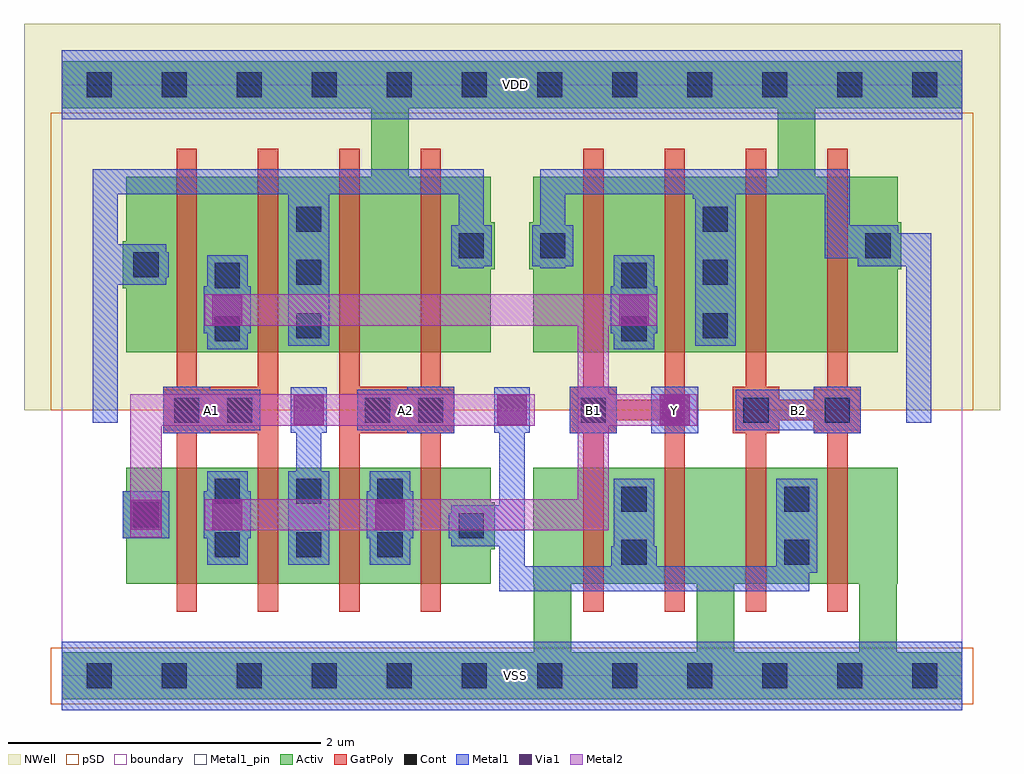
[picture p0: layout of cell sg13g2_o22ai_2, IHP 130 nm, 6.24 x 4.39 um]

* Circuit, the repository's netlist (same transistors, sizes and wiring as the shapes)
.SUBCKT sg13g2_o22ai_2 Y A1 A2 B1 B2 VDD VSS
*.PININFO A1:I A2:I B1:I B2:I Y:O VDD:B VSS:B
MN0 Y A1 net1 VSS sg13_lv_nmos w=1.48u l=130.00n ng=2
MN1 Y A2 net1 VSS sg13_lv_nmos w=1.48u l=130.00n ng=2
MN2 net1 B1 VSS VSS sg13_lv_nmos w=1.48u l=130.00n ng=2
MN3 net1 B2 VSS VSS sg13_lv_nmos w=1.48u l=130.00n ng=2
MP0 Y A1 net2 VDD sg13_lv_pmos w=2.24u l=130.00n ng=2
MP1 net2 A2 VDD VDD sg13_lv_pmos w=2.24u l=130.00n ng=2
MP2 Y B1 net3 VDD sg13_lv_pmos w=2.24u l=130.00n ng=2
MP3 net3 B2 VDD VDD sg13_lv_pmos w=2.24u l=130.00n ng=2
.ENDS

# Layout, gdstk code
import gdstk
lib = gdstk.Library(unit=1e-6, precision=1e-09)
def R(c, l, rs):  # rectangles x0, y0, x1, y1
    for r in rs: c.add(gdstk.rectangle(r[:2], r[2:], *l))
def A(c, l, x, y, w, h, nx, ny, dx, dy):  # array of equal rectangles
    R(c, l, [(x+i*dx, y+j*dy, x+i*dx+w, y+j*dy+h) for i in range(nx) for j in range(ny)])
def P(c, l, *ps):  # polygons
    for p in ps: c.add(gdstk.Polygon(p, *l))
Activ = (1, 0)
GatPoly = (5, 0)
Cont = (6, 0)
Metal1 = (8, 0)
Metal1_pin = (8, 2)
Metal2 = (10, 0)
pSD = (14, 0)
Via1 = (19, 0)
NWell = (31, 0)
boundary = (189, 4)

sg13g2_o22ai_2 = lib.new_cell('sg13g2_o22ai_2')
P(sg13g2_o22ai_2, Activ, [(3.02,0.15),(0,0.15),(0,-0.15),(5.76,-0.15),(5.76,0.15),(3.02,0.15),(3.26,0.15),(3.26,0.59),(4.06,0.59),(4.06,0.15),(4.3,0.15),(4.3,0.59),(5.1,0.59),(5.1,0.15),(5.34,0.15),(5.34,0.59),(5.345,0.59),(5.345,1.33),(3.015,1.33),(3.015,0.59),(3.02,0.59)],
  [(0,3.63),(1.98,3.63),(1.98,3.19),(0.415,3.19),(0.415,2.78),(0.39,2.78),(0.39,2.48),(0.415,2.48),(0.415,2.07),(2.745,2.07),(2.745,2.6),(2.77,2.6),(2.77,2.9),(2.745,2.9),(2.745,3.19),(2.22,3.19),(2.22,3.63),(4.58,3.63),(4.58,3.19),(3.015,3.19),(3.015,2.9),(2.99,2.9),(2.99,2.6),(3.015,2.6),(3.015,2.07),(5.345,2.07),(5.345,2.6),(5.37,2.6),(5.37,2.9),(5.345,2.9),(5.345,3.19),(4.82,3.19),(4.82,3.63),(5.76,3.63),(5.76,3.93),(0,3.93)],
  [(0.39,0.88),(0.415,0.88),(0.415,0.59),(2.745,0.59),(2.745,0.81),(2.77,0.81),(2.77,1.11),(2.745,1.11),(2.745,1.33),(0.415,1.33),(0.415,1.18),(0.39,1.18)])
P(sg13g2_o22ai_2, GatPoly, [(0.65,1.55),(0.735,1.55),(0.735,0.41),(0.865,0.41),(0.865,1.55),(1.255,1.55),(1.255,0.41),(1.385,0.41),(1.385,3.37),(1.255,3.37),(1.255,1.85),(0.865,1.85),(0.865,3.37),(0.735,3.37),(0.735,1.85),(0.65,1.85)],
  [(1.775,0.41),(1.905,0.41),(1.905,1.55),(2.295,1.55),(2.295,0.41),(2.425,0.41),(2.425,1.55),(2.51,1.55),(2.51,1.85),(2.425,1.85),(2.425,3.37),(2.295,3.37),(2.295,1.85),(1.905,1.85),(1.905,3.37),(1.775,3.37)],
  [(3.25,1.55),(3.335,1.55),(3.335,0.41),(3.465,0.41),(3.465,1.55),(3.55,1.55),(3.55,1.635),(3.855,1.635),(3.855,0.41),(3.985,0.41),(3.985,3.37),(3.855,3.37),(3.855,1.765),(3.55,1.765),(3.55,1.85),(3.465,1.85),(3.465,3.37),(3.335,3.37),(3.335,1.85),(3.25,1.85)],
  [(4.29,1.55),(4.375,1.55),(4.375,0.41),(4.505,0.41),(4.505,1.55),(4.59,1.55),(4.59,1.635),(4.81,1.635),(4.81,1.55),(4.895,1.55),(4.895,0.41),(5.025,0.41),(5.025,1.55),(5.11,1.55),(5.11,1.85),(5.025,1.85),(5.025,3.37),(4.895,3.37),(4.895,1.85),(4.81,1.85),(4.81,1.765),(4.59,1.765),(4.59,1.85),(4.505,1.85),(4.505,3.37),(4.375,3.37),(4.375,1.85),(4.29,1.85)])
A(sg13g2_o22ai_2, Cont, 0.16, -0.08, 0.16, 0.16, 12, 2, 0.48, 3.78)
A(sg13g2_o22ai_2, Cont, 0.98, 0.76, 0.16, 0.16, 3, 2, 0.52, 0.34)
A(sg13g2_o22ai_2, Cont, 2.28, 1.62, 0.16, 0.16, 3, 1, 1.04, 0)
A(sg13g2_o22ai_2, Cont, 1.5, 2.16, 0.16, 0.16, 1, 3, 0, 0.34)
A(sg13g2_o22ai_2, Cont, 4.1, 2.16, 0.16, 0.16, 1, 3, 0, 0.34)
R(sg13g2_o22ai_2, Cont, [(3.58,0.71,3.74,0.87), (4.62,0.71,4.78,0.87), (2.54,0.88,2.7,1.04), (0.46,0.95,0.62,1.11), (3.58,1.05,3.74,1.21), (4.62,1.05,4.78,1.21), (0.72,1.62,0.88,1.78), (1.06,1.62,1.22,1.78), (1.94,1.62,2.1,1.78), (4.88,1.62,5.04,1.78), (0.98,2.14,1.14,2.3), (3.58,2.14,3.74,2.3), (0.98,2.48,1.14,2.64), (3.58,2.48,3.74,2.64), (0.46,2.55,0.62,2.71), (2.54,2.67,2.7,2.83), (3.06,2.67,3.22,2.83), (5.14,2.67,5.3,2.83)])
R(sg13g2_o22ai_2, Metal1, [(0,-0.22,5.76,0.22), (0.39,0.88,0.69,1.18), (3.25,1.55,3.55,1.85), (3.77,1.55,4.07,1.85), (0,3.56,5.76,4)])
P(sg13g2_o22ai_2, Metal1, [(0.2,1.62),(0.36,1.62),(0.36,2.5),(0.67,2.5),(0.67,2.55),(0.685,2.55),(0.685,2.71),(0.67,2.71),(0.67,2.76),(0.36,2.76),(0.36,3.08),(1.45,3.08),(1.45,2.11),(1.71,2.11),(1.71,3.08),(2.54,3.08),(2.54,2.88),(2.49,2.88),(2.49,2.62),(2.54,2.62),(2.54,2.605),(2.7,2.605),(2.7,2.62),(2.75,2.62),(2.75,2.88),(2.7,2.88),(2.7,3.24),(0.2,3.24)],
  [(0.65,1.55),(0.95,1.55),(0.95,1.57),(1.27,1.57),(1.27,1.83),(0.95,1.83),(0.95,1.85),(0.65,1.85)],
  [(0.91,0.88),(0.93,0.88),(0.93,0.71),(1.19,0.71),(1.19,0.88),(1.21,0.88),(1.21,1.18),(1.19,1.18),(1.19,1.31),(0.93,1.31),(0.93,1.18),(0.91,1.18)],
  [(0.91,2.19),(0.93,2.19),(0.93,2.09),(1.19,2.09),(1.19,2.19),(1.21,2.19),(1.21,2.49),(1.19,2.49),(1.19,2.69),(0.93,2.69),(0.93,2.49),(0.91,2.49)],
  [(1.45,0.71),(1.71,0.71),(1.71,1.31),(1.66,1.31),(1.66,1.555),(1.695,1.555),(1.695,1.845),(1.465,1.845),(1.465,1.555),(1.5,1.555),(1.5,1.31),(1.45,1.31)],
  [(1.89,1.57),(2.21,1.57),(2.21,1.55),(2.51,1.55),(2.51,1.85),(2.21,1.85),(2.21,1.83),(1.89,1.83)],
  [(1.95,0.88),(1.97,0.88),(1.97,0.71),(2.23,0.71),(2.23,0.88),(2.25,0.88),(2.25,1.18),(2.23,1.18),(2.23,1.31),(1.97,1.31),(1.97,1.18),(1.95,1.18)],
  [(2.475,0.88),(2.49,0.88),(2.49,0.83),(2.8,0.83),(2.8,0.54),(4.78,0.54),(4.78,0.66),(4.83,0.66),(4.83,1.26),(4.57,1.26),(4.57,0.7),(3.805,0.7),(3.805,0.83),(3.79,0.83),(3.79,1.26),(3.53,1.26),(3.53,0.83),(3.515,0.83),(3.515,0.7),(2.96,0.7),(2.96,1.555),(2.995,1.555),(2.995,1.845),(2.765,1.845),(2.765,1.555),(2.8,1.555),(2.8,1.09),(2.49,1.09),(2.49,1.04),(2.475,1.04)],
  [(3.01,2.62),(3.06,2.62),(3.06,2.605),(3.22,2.605),(3.22,2.62),(3.27,2.62),(3.27,2.88),(3.22,2.88),(3.22,3.08),(4.035,3.08),(4.035,3.05),(4.05,3.05),(4.05,2.11),(4.31,2.11),(4.31,3.08),(4.88,3.08),(4.88,2.67),(5.09,2.67),(5.09,2.62),(5.4,2.62),(5.4,1.62),(5.56,1.62),(5.56,2.83),(5.35,2.83),(5.35,2.88),(5.04,2.88),(5.04,3.24),(3.06,3.24),(3.06,2.88),(3.01,2.88)],
  [(3.51,2.19),(3.53,2.19),(3.53,2.09),(3.79,2.09),(3.79,2.19),(3.81,2.19),(3.81,2.49),(3.79,2.49),(3.79,2.69),(3.53,2.69),(3.53,2.49),(3.51,2.49)],
  [(4.31,1.57),(4.81,1.57),(4.81,1.55),(5.11,1.55),(5.11,1.85),(4.81,1.85),(4.81,1.83),(4.31,1.83)])
R(sg13g2_o22ai_2, Metal1_pin, [(0,-0.22,5.76,0.22), (3.25,1.55,3.55,1.85), (3.77,1.55,4.07,1.85), (0.65,1.57,1.27,1.83), (1.89,1.57,2.51,1.83), (4.31,1.57,5.11,1.83), (0,3.56,5.76,4)])
P(sg13g2_o22ai_2, Metal2, [(0.44,0.885),(0.64,0.885),(0.64,1.6),(3.025,1.6),(3.025,1.8),(0.44,1.8)],
  [(0.915,0.93),(3.5,0.93),(3.5,1.6),(4.065,1.6),(4.065,1.8),(3.5,1.8),(3.5,2.24),(3.805,2.24),(3.805,2.44),(0.915,2.44),(0.915,2.24),(3.3,2.24),(3.3,1.13),(0.915,1.13)])
R(sg13g2_o22ai_2, pSD, [(-0.07,-0.18,5.83,0.18), (-0.07,1.7,5.83,3.6)])
R(sg13g2_o22ai_2, Via1, [(0.445,0.935,0.635,1.125), (0.965,0.935,1.155,1.125), (2.005,0.935,2.195,1.125), (1.485,1.605,1.675,1.795), (2.785,1.605,2.975,1.795), (3.825,1.605,4.015,1.795), (0.965,2.245,1.155,2.435), (3.565,2.245,3.755,2.435)])
R(sg13g2_o22ai_2, NWell, [(-0.24,1.7,6,4.17)])
R(sg13g2_o22ai_2, boundary, [(0,0,5.76,3.78)])
sg13g2_o22ai_2.add(gdstk.Label('A1', (0.96,1.7), layer=8, texttype=25))
sg13g2_o22ai_2.add(gdstk.Label('Y', (3.92,1.7), layer=8, texttype=25))
sg13g2_o22ai_2.add(gdstk.Label('A2', (2.2,1.7), layer=8, texttype=25))
sg13g2_o22ai_2.add(gdstk.Label('B1', (3.4,1.7), layer=8, texttype=25))
sg13g2_o22ai_2.add(gdstk.Label('B2', (4.71,1.7), layer=8, texttype=25))
sg13g2_o22ai_2.add(gdstk.Label('VSS', (2.9,0), layer=8, texttype=25))
sg13g2_o22ai_2.add(gdstk.Label('VDD', (2.9,3.78), layer=8, texttype=25))

lib.write_gds('sg13g2_o22ai_2.gds')
